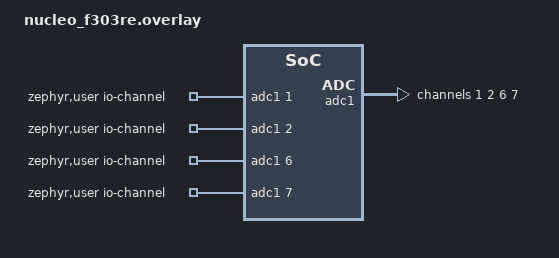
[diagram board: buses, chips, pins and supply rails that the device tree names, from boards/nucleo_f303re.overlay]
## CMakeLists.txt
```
# SPDX-License-Identifier: Apache-2.0

cmake_minimum_required(VERSION 3.20.0)

find_package(Zephyr REQUIRED HINTS $ENV{ZEPHYR_BASE})
project(cryoderme_v4)

FILE(GLOB app_sources src/*.c)
target_sources(app PRIVATE ${app_sources})

include(${ZEPHYR_BASE}/cmake/cfb.cmake NO_POLICY_SCOPE)

set(gen_dir ${ZEPHYR_BINARY_DIR}/include/generated/)
generate_cfb_font_for_target(app fonts/fsex302.ttf ${gen_dir}/cfb_font_fixedsys32.h 8 16 -s 16 --first 32 --last 126)
generate_cfb_font_for_target(app fonts/JetBrainsMono-Bold.ttf ${gen_dir}/cfb_font_jetbrains_mono_bold.h 26 48 -s 40 --first 32 --last 126)
```

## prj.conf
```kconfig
CONFIG_STDOUT_CONSOLE=y

CONFIG_HEAP_MEM_POOL_SIZE=16384

CONFIG_DISPLAY=y

CONFIG_LOG=y

CONFIG_SMF=y

CONFIG_CFB_LOG_LEVEL_DBG=y
CONFIG_CHARACTER_FRAMEBUFFER=y
CONFIG_CHARACTER_FRAMEBUFFER_USE_DEFAULT_FONTS=n
CONFIG_SSD1306_REVERSE_MODE=y

CONFIG_NEWLIB_LIBC_FLOAT_PRINTF=y
CONFIG_NEWLIB_LIBC=y

CONFIG_ASSERT=y

CONFIG_ADC=y
CONFIG_ADC_STM32=y
CONFIG_GPIO_STM32=y
CONFIG_CBPRINTF_FP_SUPPORT=y
CONFIG_SOC_SERIES_STM32F3X=y
```

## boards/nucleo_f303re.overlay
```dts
/*
 * SPDX-License-Identifier: Apache-2.0
 *
 * Copyright (c) 2021 STMicroelectronics
 */

 #include <zephyr/dt-bindings/adc/adc.h>

 / {
	zephyr,user {
		/* adjust channel number according to pinmux in board.dts */
		io-channels = <&adc1 1>, <&adc1 2>, <&adc1 6>, <&adc1 7>;//  Ref: PA0, PA1, PC0, PC1   
	};
};

&adc1 {
	status="okay";
	#address-cells = <1>;
	#size-cells = <0>;


	channel@1 {		// ADC_IN1 = PA0
		reg = <1>;
		zephyr,gain = "ADC_GAIN_1";
		zephyr,reference = "ADC_REF_INTERNAL";
		zephyr,acquisition-time = <ADC_ACQ_TIME_DEFAULT>;
		zephyr,resolution = <12>;
	};

	channel@2 {		// ADC_IN2 = PA1
		reg = <2>;
		zephyr,gain = "ADC_GAIN_1";
		zephyr,reference = "ADC_REF_INTERNAL";
		zephyr,acquisition-time = <ADC_ACQ_TIME_DEFAULT>;
		zephyr,resolution = <12>;
	};

	channel@6 {		// ADC_IN6 = PC0
		reg = <6>;
		zephyr,gain = "ADC_GAIN_1";
		zephyr,reference = "ADC_REF_INTERNAL";
		zephyr,acquisition-time = <ADC_ACQ_TIME_DEFAULT>;
		zephyr,resolution = <12>;
	};

	channel@7 {		// ADC_IN7 = PC1
		reg = <7>;
		zephyr,gain = "ADC_GAIN_1";
		zephyr,reference = "ADC_REF_INTERNAL";
		zephyr,acquisition-time = <ADC_ACQ_TIME_DEFAULT>;
		zephyr,resolution = <12>;
	};

};

//talvez channel@f seja referente a todos os canais..
```

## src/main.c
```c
/*
 * Copyright (c) 2018 PHYTEC Messtechnik GmbH
 *
 * SPDX-License-Identifier: Apache-2.0
 * 
 */

/*
 * Com base no codigo do proojeto Display+STM teremos o inicio do
 * código do Cryoderme. Logo abaixo teremos o código Display+STM agora com textos coerentes a cada estado. 
 * v1 - organiza de forma geral as funções e variáveis para display em cada estado da State Machine
 * 		tambem foi organizada uma funação para mostrar texto de forma corrida. Isso é para caracteres grandes apenas.
 * v2 - Incluir timer para ser usado na medição das temperaturas.
 * v3 - Incluir leitura de sensores de temperatura. Ao invés de fazer uma interrupção por timer optei em fazer uma thread 
 * 		que dorme com uma função SLEEP a cada "SLEEP_TEMPERATURA_MS" milisegundos, e qdo acorda entra no schedulling para fazer a leitura dos ADCs 
 * 		(temperaturas), que após ler os valores e colocalos em variáveis adequadas entra em SLEEP novamente. Assim ficamos 
 * 		trabalhando com o mínimo de interrupção e o máximo de schedulling do kernel.
 * 		Além disso, a temperaura de saída do bloco Frio2 é apresentado no display.   
 * v4 - Incorpora comportamento ao ser conectado na energia, o firmware entra no STM de Desliagr e com isso desliaga todas 
 * 		saidas e mostrar OFF no display.  
 * 		Ainda incorpora comportamento sobre o botão Liga/Desliga com interrupção no botão BT_LIGA_DESL. Um toque o equipamento liga
 * 		e mantendo ao menos XX segundos pressionado o equipamento desliga.   
 * v5 - incorpora as entradas e saídas digitais necessário ao controle do equipammento. Segue lista no item PINOUT
 *    
 * 
 * ESTADOS do State Machine
 *  - ST_BT_Inicio: Ao press botão de início-> liga a bomba de agua, ar, leds, as célualr e msg display 
 *  - ST_BT_Fim: Ao manter press botão inicio-> faz o oposto do liga 
 *  - ST_Alarms: Gera mensagens de alarmes e liga dreno,   
 *  - ST_BT_Temp: Ao press botão TEMP, opçao "Ciclo T=-35 oC" liga todas células e display msg 
 * 									se "Ciclo T= 0 oC", liga parte das células e dislay msg 
 *  - ST_BT_Flow: Ao press botão FLOW, opção "Ciclo Alto Fluxo" muda freq aimentação Bomba para 60Hz e display msg 
 * 								 opção "Ciclo Baixo Fluxo" muda freq aimentação Bomba para 45Hz e display msg
 *  - ST_Temp: Gera mensagem de temperatura da saída de ar 
 *  - ST_Idle: Não faz nada.  
 * 
 * DETALHES GERAIS
 * - Os sensores de tempratura são lidos na interrupção de um timer a cada 'SENS_PERIOD_S' segundos. Na interrupção já é verificado se
 * há alguma valor alterado e acionado estado de alarmes. 
 * - Estado "FIM" do State Machine desliga todas as saídas e coloca a cpu em modo SLEEP. A fonte de alimentação não é desligada. 
 * - O Estado "FIM" é acionado pressionando o botão liga por mais de 3 segundos
 * - Sempre que o equipamentos é ligado na energia o processador inicia e vai para o modo "FIM" do state machine.
 * - Mesmo em modo desligado a CPU nãoserá desligada. Apenas as saídas e display, garntindo que o equipamento não está em funcionamento.
 *   Ao toqueno botão de Ligar o equipamento liga os ementos de fresfriamento, bombas, etc..    
 * - 
 * 
 * 
 * 
 *  -- PINOUT I2C
 *  PB6 - i2c1 scl 	- Display
 *  PB9 - i2c  sda 	- Display
 *  -- PINOUT Entradas ADC
 *  PA0 - ADC_IN1 (channel 1)	- Temp Bloco Quente
 *  PA1 - ADC_IN2 (channel 2) 	- Temp Bloco Frio 1º estágio
 * 	PC0 - ADC_IN6 (channel 6)	- Temp Bloco Frio 2º estágio (mais frio)
 *  PC1 - ADC_IN7 (channel 7)	- Temp Bloco Ambiente (a decidir)
 *  -- PINOUT ENTRADAS DIGITAIS 
 *  PA9 - Botao BT_LIG_DESL  	- usado para ligar e desligar equipamento 
 *  PB10 - Botao BT_FLOW		- usado para controlar fluxo de ar  
 *  PA8 - Botao BT_TEMP			- usado para controlar temperatura de saída 
 *  -- PINOUT SAIDAS DIGITAIS 
 *  PB13 - OUT LED_LIG_DESL  	-  Usado para acionar led do botao Liga/desli
 *  PB14 - OUT LED_FLOW      	-  Usado para acionar led do botão FLow 
 *  PB15 - OUT LED_TEMP   	 	-  Usado para acionar led do botao Temperatura (LED_TEMP)
 *  PB5  - OUT AIR_1   			-  Usado para acionar bomba de ar, 60hz  (OUT_AIR_1) 
 *  PB4  - OUT AIR_2   		 	-  Usado para acionar bomba de ar, 45hz  (OUT_AIR_2)
 *  PB2  - OUT BANK_PELT_1   	-  Usado para aciona DC-DC para células Peltier 12706 (6 unidades) + bomba agua, valvula sol, coolers
 *  PB1  - OUT BANK_PELT_2   	-  Usado para aciona DC-DC para células Peltier 12715 (4 unidades)
 *  
 *  
 * 
 *  COMANDO   west build -b NUCLEO_F303RE -p -- -DSHIELD=sh1106_128x64
 *            west flasg
 * 
 */



#include <zephyr/kernel.h>
#include <zephyr/device.h>
#include <zephyr/devicetree.h>
#include <zephyr/drivers/adc.h>
#include <zephyr/drivers/gpio.h>
#include <zephyr/display/cfb.h>
#include <zephyr/smf.h>			//State machine
#include <zephyr/sys/printk.h>
#include <zephyr/sys/util.h>
#include <zephyr/sys/__assert.h>
#include <inttypes.h>
#include <string.h>
#include <stdio.h>
#include <stdbool.h>
#include <stddef.h>
#include "cfb_font_fixedsys32.h"
#include "cfb_font_jetbrains_mono_bold.h"




/*  Define do projeto*/
#define STACKSIZE 1024		/* size of stack area used by each thread */
#define PRIORITY 7			/* scheduling priority used by each thread */
#define SLEEP_TIME_MS   1000	/* 1000 msec = 1 sec */
#define SENS_PERIOD_S  2	/* Periodo leitura sensores temperaturas, em segundos */
#define TEXT_PERIOD_S  150	/* Periodo controle texto corrido, em milisegundos */
#define SLEEP_TEMPERATURA_MS  5000	/* Periodo para leitura de sensores de temperatura*/
#define BUTTON_OFF_TIME	3000	/* Periodo que botão Desligar deve ficar pressionado para entrar no modo Desligar Equipamento*/	
#define STACKSIZE 1024 		/* size of stack area used by each thread */
#define PRIORITY 7			/* scheduling priority used by each thread */
#define LED0_NODE DT_ALIAS(led0)
#define BUTTON0_NODE DT_NODELABEL(user_button)

/*** Variáveis Globais ****/
const struct device *dev;
void display_corrido (char*, int);	// função no fim do texto, executa msg de forma corrida no display
bool low_temp_trabalho=true;		// variavel true indica low temperaturade trabalho (-35ºC), e false para alta temperatura (0 ªC)
bool high_flow_trabalho=true;		// variavel true indica Hi fluxo de ar, e false indica baixo fluxo de ar 
bool sistem_ON=false;			  	// usado para informar se o equipammento está ligado ou desligado. Embora a CPU esteja sempre ligada.
int ret;						// variável de retorno de funções nativas do Zephyr, exemplo: verificação se saída foi configurada corretamente
static const struct smf_state demo_states[]; /* Forward declaration of state table */
enum demo_state { ST_BT_Inicio, ST_BT_Fim, ST_Alarms, ST_BT_Temp, ST_BT_Flow, ST_Temp, ST_Idle}; /* List of demo states, ver cabeçalho */
int alarmes;					// variável global para controle dos alarmes, em conjunto com erros_alarmes
enum erros_alarmes{ERR_NONE, ERR_COOLER1, ERR_COOLER2, ERR_WARMPART};	// 0 - sem notificação, 1 - Erro primeiro estágio de resfriamento, 2 -  Erro primeiro estágio de resfriamento, 3 Erro estágio de arrefecimento 
struct s_object {	/* User defined object */
    struct smf_ctx ctx;	/* This must be first */
	} s_obj;
int count_tempo_dreno=0;
int count=0;	// usado em teste
float TempSensor_frio1=0.0, TempSensor_frio2=0.0, TempSensor_quente=0.0; 
void temp_sensors(void);	// declaração de função de leitura de ADCs
const struct gpio_dt_spec led = GPIO_DT_SPEC_GET(LED0_NODE, gpios);			// declara LED conforme arquivo .dts do Board nucleo_f303re
const struct gpio_dt_spec button = GPIO_DT_SPEC_GET(BUTTON0_NODE, gpios);	// declara LED conforme arquivo .dts do Board nucleo_f303re
static struct gpio_callback button_cb_data;									// declara struc usada para callback (interrupção) do botão	
void inicializa_GPIO_Interrupcao(void);
void work_handler(struct k_work *work);
void button_pressed(const struct device *dev, struct gpio_callback *cb, uint32_t pins);


/************************/
// RELATIVO AO DISPLAY E ESTADOS DA STATE MACHINES
/************************/
/* State ST_Inicio:   */
/* Início é quando o botão Iniciar é acionado. No estado desligado as fontes estão ligadas mas todo o resto fica desligado  
 * Então uma vez acionado o botão este estado liga as tudo e passa a funcionar normalmente. 
 * O Botão de lIga deverá ser um botão no terminal de interrupão externa capáz de tirar a cpu do modo SLEEp 
*/
static void st_bt_inicio_run(void *o)  { 
	
	 	display_blanking_off(dev);
		cfb_framebuffer_clear(dev, false);
		cfb_framebuffer_set_font(dev, 0);
		cfb_print(dev, " ON ", 0, 0);
		cfb_framebuffer_set_font(dev, 1);
		cfb_print(dev, "CRYODERME V 1", 8, 48);	// posição em multiplos 8 para y e x
		cfb_framebuffer_finalize(dev);
		
		// liga celulas, bombas e LEDs, 
		// ...
		k_msleep(2000);
	smf_set_state(SMF_CTX(&s_obj), &demo_states[ST_Idle]);	//set STM para voltar a Idle State depois de finalizar este estado
	}

/* State ST_Fim - Desliga tudo que Inicia ligou, e coloca o processador em SLEEP. */
static void st_bt_fim_run(void *o){
	 	display_blanking_off(dev);	
		cfb_framebuffer_clear(dev, false);
		cfb_framebuffer_set_font(dev, 0);
		cfb_print(dev, "OFF", 8, 8); 	// posição em multiplos 8 para y e x
		cfb_framebuffer_finalize(dev);
		k_msleep(2000);
		display_blanking_on(dev);	// desliga visualmente o display ou "blanking" ON!
		smf_set_state(SMF_CTX(&s_obj), &demo_states[ST_Idle]);
		// desliga celulas, bombas e LEDs etc
 		// ...
	}

/* chamado para display mensagens de algum alarme do equipammento  */
static void st_alarms_run(void *o){
	//smf_set_state(SMF_CTX(&s_obj), &demo_states[ST_BT_Temp]);
	/* 	display_blanking_off(dev);
		cfb_framebuffer_clear(dev, false);
		cfb_framebuffer_set_font(dev, 0);
		cfb_print(dev, "OFF ", 16, 8); 	// posição em multiplos 8 para y e x
		cfb_framebuffer_finalize(dev);
	*/ // Pensar o que fazer depois de mostrar alarmes.. desliga as coisas? Desliga Equipamento?	
	}


/* Display msg quando botão Temperatura é acionado. Faz uso da função de apresentação de texto corrido */
static void st_bt_temp_run(void *o){
		if (low_temp_trabalho) display_corrido("Tecla T-35", TEXT_PERIOD_S); // somente para tam fonte = 0. Função de apresentação texto corrido 
		else display_corrido("Tecla T0", TEXT_PERIOD_S);
	smf_set_state(SMF_CTX(&s_obj), &demo_states[ST_Temp]);	// depois da msg do botão flow volta a apresentar a temperatura no dipslay
	}


/* Display msg quando botão Flow é acionado. Faz uso da função de apresentação de texto corrido */
static void st_bt_flow_run(void *o){
		if (high_flow_trabalho) display_corrido("Tecla HiFLow", TEXT_PERIOD_S); // somente para tam fonte = 0. Função de apresentação texto corrido 
		else display_corrido("Tecla LowFlow", TEXT_PERIOD_S);
	smf_set_state(SMF_CTX(&s_obj), &demo_states[ST_Temp]);	// depois da msg do botão flow volta a apresentar a temperatura no dipslay
	}

/* chamado para display mensagens de temperatura dos sensores */
static void st_temp_run(void *o){
	char aux_buffer[5] = "-----";									// string é inicializada
		display_blanking_off(dev);									// turn display buffer off, in order to change text
		cfb_framebuffer_clear(dev, false);							// clear display text buffer
		cfb_framebuffer_set_font(dev, 0);							// set font size of display text
		sprintf(aux_buffer,"%2.1f", TempSensor_frio2);				// print to array the text with temperatura valor
		if (TempSensor_frio2 <0) cfb_print(dev,aux_buffer, 16, 0);	// write to the display buffer in this position if negative temperatura 
		else cfb_print(dev,aux_buffer, 16, 8);						// write to the display buffer in this position if positive temperatura
		cfb_framebuffer_finalize(dev);								// play the buffer in display
	smf_set_state(SMF_CTX(&s_obj), &demo_states[ST_Idle]);			// set next SMT state	
	}
	//TempSensor_frio1=0.0, TempSensor_frio2=0.0, TempSensor_quente=0.0;

	/* Esse estado não faz nada, é só para a máquina de estados por ficar fazendo laguma 
	coisa que não seja os outros  estamos */
static void st_idle_run(void *o){
	;	
	}

/* Populate state table */
static const struct smf_state demo_states[] = {
        [ST_BT_Inicio] = SMF_CREATE_STATE(NULL, st_bt_inicio_run, NULL),   	
        [ST_BT_Fim] = SMF_CREATE_STATE(NULL, st_bt_fim_run, NULL),	/* State S1 does not have an entry nether exit action */
        [ST_Alarms] = SMF_CREATE_STATE(NULL, st_alarms_run, NULL),	/* State S1 does not have an entry nether exit action */
        [ST_BT_Temp] = SMF_CREATE_STATE(NULL, st_bt_temp_run, NULL),	/* State S1 does not have an entry nether exit action */
        [ST_BT_Flow] = SMF_CREATE_STATE(NULL, st_bt_flow_run, NULL),	/* State S1 does not have an entry nether exit action */
        [ST_Temp] = SMF_CREATE_STATE(NULL, st_temp_run, NULL),	/* State S1 does not have an entry nether exit action */
        [ST_Idle] = SMF_CREATE_STATE(NULL, st_idle_run, NULL),	/* State S1 does not have an entry nether exit action */
};




/**********************************/
// *****   MAIN    ****************/
void main(void)
{
	dev = DEVICE_DT_GET(DT_CHOSEN(zephyr_display));
	if (!device_is_ready(dev)) {
			printk("Device %s not ready\n", dev->name);
			return;
		}
	if (display_set_pixel_format(dev, PIXEL_FORMAT_MONO10) != 0) {
			printk("Failed to set required pixel format\n");
			return;
		}
	if (cfb_framebuffer_init(dev)) {
			printk("Framebuffer initialization failed!\n");
			return;
		}

	printk("Initialized %s\n", dev->name);

	cfb_framebuffer_clear(dev, true);
	display_blanking_off(dev);
	cfb_framebuffer_set_font(dev, 1);

	/* Set initial state - qdo o equipamento é ligado na energia ele inicia a cpu e entra entra em modo DESLIGADO */
    smf_set_initial(SMF_CTX(&s_obj), &demo_states[ST_BT_Fim]);
	printk("vai entrar While \n");
	inicializa_GPIO_Interrupcao();	// Configura Buttons e interrupção dos buttons BT_LIGA_DESL, BT_FLOW, BT_TEMP


	while (1) 
	{
		ret = smf_run_state(SMF_CTX(&s_obj));
                /*if (ret) {// handle return code and terminate state machine 
                        printk("State Machine parou  \n"); 
						break;
				} 
				*/
		k_msleep(1);
	}
	
}



/* Função escreve em Display de forma corrida
 * Toma por base um buffer tipo char de tamanho xx, delay entre deslocamentos
 * é usado apenas para letras grandes
 */
void display_corrido (char *buffer, int atraso){

	char aux_buffer[5] = "     ";	// string é inicializada com espaço apenas
	unsigned int size = strlen (buffer); 

	display_blanking_off(dev);
	cfb_framebuffer_set_font(dev, 0);
	for (int i=0; i < (size+1); i++){
			cfb_framebuffer_clear(dev, false);
			strncpy(aux_buffer, buffer+i,4);
			cfb_print(dev,aux_buffer, 0, 0); 	// posição em multiplos 8 para y e x
			cfb_framebuffer_finalize(dev);
			k_msleep(atraso);		
		}

}    //Modo Temp 0 graus


/************************/
// THREAD Leitura de Sensore de Temperatura
/************************/
// A thread é acordada a cada  SLEEP_TEMPERATURA_MS milisegundos
// E olha que legal, o #error é uma macro de compilação, que indica erro de compilação caso o if abaixo seja satisfeito!
// e essa é a estrutura, cada comando numa linha

#if !DT_NODE_EXISTS(DT_PATH(zephyr_user)) || \
	!DT_NODE_HAS_PROP(DT_PATH(zephyr_user), io_channels)
	#error "No suitable devicetree overlay specified"
	#endif


	#define DT_SPEC_AND_COMMA(node_id, prop, idx) \
	ADC_DT_SPEC_GET_BY_IDX(node_id, idx),

	// Data of ADC io-channels specified in devicetree. 
	static const struct adc_dt_spec adc_channels[] = {
	DT_FOREACH_PROP_ELEM(DT_PATH(zephyr_user), io_channels,
			     DT_SPEC_AND_COMMA)
	};



void temp_sensors(void)		//funçção executada como thread
{
	int err;
	int16_t buf;
	double aux;
	double aux_A=25.0/310.0;			// aux_A e aux_B calculam as constantes para gera uma equção de reta 
	double aux_B=25.0-(931.0*aux_A);	// Y = aux_A.X + aux_B oude y é temperatura e x valor do adc em bits 
										// equação de reta para o sensor TMP36 para conversão de BITs em Temperatura
	k_msleep(2000);
	printk(" -----    Thread sensores ----    \n"); 

	struct adc_sequence sequence = {
		.buffer = &buf,
		// buffer size in bytes, not number of samples 
		.buffer_size = sizeof(buf),
	};

// Configure channels individually prior to sampling. 
	for (size_t i = 0U; i < ARRAY_SIZE(adc_channels); i++) {
		if (!device_is_ready(adc_channels[i].dev)) {
			printk("ADC controller device not ready\n");
			return;
		}

		err = adc_channel_setup_dt(&adc_channels[i]);
		if (err < 0) {
			printk("Could not setup channel #%d (%d)\n", i, err);
			return;
		}
	}

			// O loop é temporizado por uma SLEEP de "SLEEP_TEMPERATURA_MS" milisegundos para leitura dos sensores via ADC imput	 
	while (1) {
		if (sistem_ON)	{// se equipamento estiver ligado 
			for (size_t i = 0U; i < ARRAY_SIZE(adc_channels); i++) {	// for faz leitura de todos os ADC identificados para o projeto

				/*printk("- %s, channel %d: \n",
					adc_channels[i].dev->name,
					adc_channels[i].channel_id);
				*/

				(void)adc_sequence_init_dt(&adc_channels[i], &sequence);	//incia o ADC	

				err = adc_read(adc_channels[i].dev, &sequence);				// faz leitura de ADC
				if (err < 0) {
					printk("Could not read (%d)\n", err);					// print em caso de erro
					smf_set_state(SMF_CTX(&s_obj), &demo_states[ST_Alarms]);	// seleciona SMT state para apresentação de falha	
					continue;
				} else {													// transfere os valores lidos dos ADCs para varíavei globais
						aux = (aux_A*buf) + aux_B;			// equação de reta do sensor TMP36 para conversão de BITs em Temperatura 
						printf("Temp: %2.1foC  ", aux);		// printk para controle
						if (adc_channels[i].channel_id==2) TempSensor_quente=aux;		// transfere valor para variavel sensor do bloco quente
						if (adc_channels[i].channel_id==6) TempSensor_frio1=aux;		// transfere valor para variavel sensor do bloco frio 1
						if (adc_channels[i].channel_id==7) TempSensor_frio2=aux;		// transfere valor para variavel sensor do bloco frio 2
						smf_set_state(SMF_CTX(&s_obj), &demo_states[ST_Temp]);		
				}
			}
		}	
		printf("\n \n");
		k_msleep(SLEEP_TEMPERATURA_MS);
	}
}
K_THREAD_DEFINE(temp_sensors_id, STACKSIZE, temp_sensors, NULL, NULL, NULL, PRIORITY, 0, SLEEP_TEMPERATURA_MS); // define a thread temp_sensors, com 2 segundos de retardo 	





/*******************************************/
// BOTÔES BT_LIG_DES, BT_FLOW, BT_TEMP e suas INTERRUPÇões 
/*******************************************/

// Função que será executada na interrupção do botão BT_LIG_DESL 
// Se acioanado uma vez LIGA o equipamento, se acionado por XX segundos desliga o equipamento. 
// A variávelglobal sistem_ON indica se o equipamento se encontra ligado ou desligado
void work_handler(struct k_work *work){
	int time_aux=0; 
	
	if (sistem_ON){		// se equipamento está ligado então vai desliGar ao acionamento do BT_LIGA_DESL 
		gpio_pin_set_dt(&led, 0);			// put desabilita saida LED
		while(gpio_pin_get_dt(&button)==1){	// testa se botão BT_LIGA_DESL fica mais de XX segundos pressionados 
				k_msleep(50);				// então equipamento será desligado, se ficar menos de XX segundos não será desligado.
				time_aux = time_aux +50;
				if (time_aux > BUTTON_OFF_TIME) break;
		}
		if(time_aux > BUTTON_OFF_TIME){
			//printk("Botao + de 3 seg\n");
			gpio_pin_toggle_dt(&led);
			k_msleep(300);
			gpio_pin_toggle_dt(&led);
			k_msleep(300);
			gpio_pin_toggle_dt(&led);
			k_msleep(300);
			gpio_pin_toggle_dt(&led);
			k_msleep(300);
			gpio_pin_toggle_dt(&led);
			k_msleep(300);
			gpio_pin_toggle_dt(&led);
			k_msleep(300);
			gpio_pin_toggle_dt(&led);
			k_msleep(300);
		
			sistem_ON = false;				// indica o ifrmware que o equipamento está desligado
			smf_set_state(SMF_CTX(&s_obj), &demo_states[ST_BT_Fim]);	// STM em estado de Desligamento do Equipamento
		

		}
	}
	else {	// Sistema está desligado e será ligado - sistema de refrigerção e bomba
		sistem_ON = true;					// indica o ifrmware que o equipamento está ligado
		smf_set_state(SMF_CTX(&s_obj), &demo_states[ST_BT_Inicio]);		// STM em estado de Ligar o Equipamento
	}
}
K_WORK_DEFINE(my_work, work_handler);

void button_pressed(const struct device *dev, struct gpio_callback *cb, uint32_t pins){
	k_work_submit(&my_work);
}


void inicializa_GPIO_Interrupcao(void){

    if (!device_is_ready(led.port)) {	// verifica se saida LED está OK
        return;
    }

    ret = gpio_pin_configure_dt(&led, GPIO_OUTPUT_ACTIVE);	// configura saida LED
	if (ret < 0) {
		return;
	}
	gpio_pin_set_dt(&led, 0);			// desabilita saida LED

    gpio_pin_configure_dt(&button, GPIO_INPUT);		//configura entrada BUTTON
    gpio_pin_interrupt_configure_dt(&button, GPIO_INT_EDGE_TO_ACTIVE);		// relaciona INTERRUPÇÂO ao BUTTON 

    gpio_init_callback(&button_cb_data, button_pressed, BIT(button.pin));	// inicializa interrupção com a função a ser executada na interrução
	gpio_add_callback(button.port, &button_cb_data);			// relaciona interrupção com a função a ser executada na interrução
}
```
